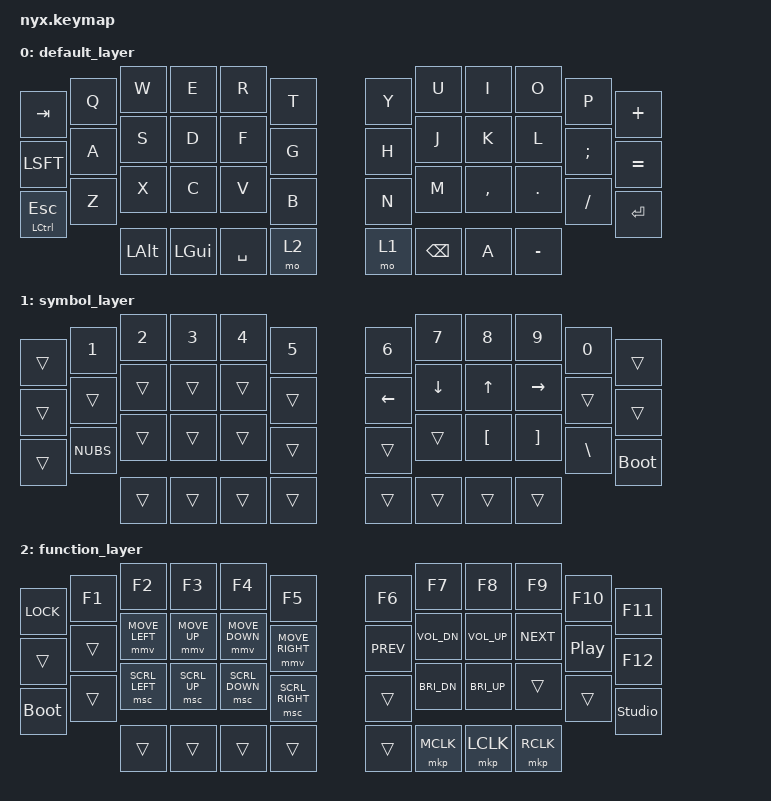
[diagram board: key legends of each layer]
// This file was generated from a template. Edit it to match your keyboard.
// See https://zmk.dev/docs/development/hardware-integration/new-shield for more instructions.

#include <behaviors.dtsi>
#include <dt-bindings/zmk/keys.h>
#include <dt-bindings/zmk/pointing.h>

/ {
    behaviors {
        mt: mod_tap {
            compatible = "zmk,behavior-hold-tap";
            #binding-cells = <2>;
            tapping-term-ms = <150>;
            quick-tap-ms = <0>;
            flavor = "hold-preferred";
            bindings = <&kp>, <&kp>;
        };
    };

    // Define a default keymap here.
    // See https://zmk.dev/docs/development/hardware-integration/new-shield#default-keymap.
    keymap {
        compatible = "zmk,keymap";

        default_layer {
            bindings = <
                &kp TAB       &kp Q    &kp W    &kp E     &kp R      &kp T         &kp Y    &kp U     &kp I     &kp O   &kp P     &kp PLUS
                &kp LSFT      &kp A    &kp S    &kp D     &kp F      &kp G         &kp H    &kp J     &kp K     &kp L   &kp SEMI  &kp EQUAL
                &mt LCTRL ESC &kp Z    &kp X    &kp C     &kp V      &kp B         &kp N    &kp M     &kp COMMA &kp DOT &kp SLASH &kp ENTER
                                       &kp LALT &kp LGUI  &kp SPACE  &mo 2         &mo 1    &kp BSPC  &kp A     &kp MINUS
            >;
        };

        symbol_layer {
            bindings = <
                &trans        &kp N1   &kp N2 &kp N3  &kp N4  &kp N5               &kp N6   &kp N7   &kp N8    &kp N9    &kp N0   &trans
                &trans        &trans   &trans &trans  &trans  &trans               &kp LEFT &kp DOWN &kp UP    &kp RIGHT &trans   &trans
                &trans        &kp NUBS &trans &trans  &trans  &trans               &trans   &trans   &kp LBKT  &kp RBKT  &kp BSLH &bootloader
                                       &trans &trans  &trans  &trans               &trans   &trans   &trans    &trans
            >;
        };

        function_layer {
            bindings = <
                &kp K_LOCK  &kp F1 &kp F2         &kp F3       &kp F4          &kp F5                       &kp F6     &kp F7       &kp F8        &kp F9     &kp F10   &kp F11
                &trans      &trans &mmv MOVE_LEFT &mmv MOVE_UP &mmv MOVE_DOWN  &mmv MOVE_RIGHT              &kp C_PREV &kp C_VOL_DN &kp C_VOL_UP  &kp C_NEXT &kp C_PP  &kp F12
                &bootloader &trans &msc SCRL_LEFT &msc SCRL_UP &msc SCRL_DOWN  &msc SCRL_RIGHT              &trans     &kp C_BRI_DN &kp C_BRI_UP  &trans     &trans    &studio_unlock
                                   &trans         &trans       &trans          &trans                       &trans     &mkp MCLK    &mkp LCLK     &mkp RCLK
            >;
        };
    };
};
